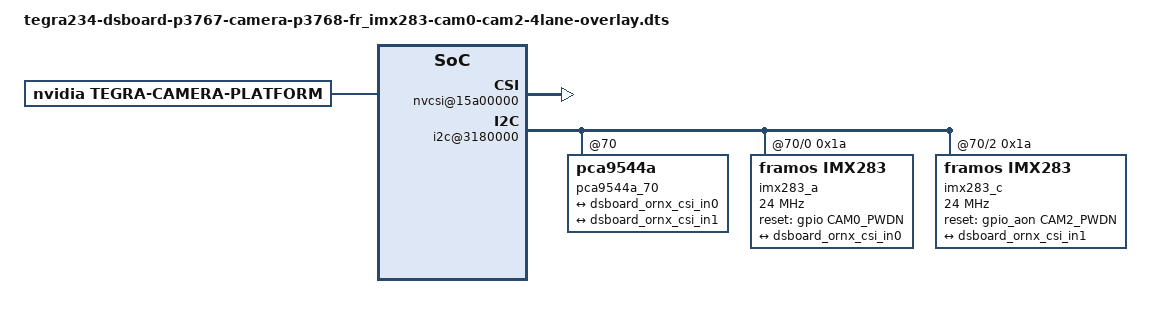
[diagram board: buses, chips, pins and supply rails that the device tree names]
// SPDX-License-Identifier: GPL-2.0-only
// SPDX-FileCopyrightText: Copyright (c) 2023-2024, NVIDIA CORPORATION & AFFILIATES. All rights reserved.

/dts-v1/;
/plugin/;

#include <dt-bindings/tegra234-p3767-0000-common.h>
#include <dt-bindings/clock/tegra234-clock.h>
#include <dt-bindings/gpio/tegra234-gpio.h>

#define CAM0_PWDN	TEGRA234_MAIN_GPIO(H, 6)
#define CAM1_PWDN	TEGRA234_MAIN_GPIO(AC, 0)
#define CAM2_PWDN	TEGRA234_AON_GPIO(CC, 1) // GPIO04
#define CAM3_PWDN	TEGRA234_AON_GPIO(EE, 2) // GPIO10

// CAM0_MCLK - Pin_116 - GPIO(P, 0)
// CAM1_MCLK - Pin_122 - GPIO(P, 1)
// CAM2_MCLK - GPIO02 - GPIO(Q, 5)
// CAM3_MCLK - GPIO11 - GPIO(Q, 6)

/ {
	overlay-name = "Framos DSBOARD-ORNX IMX283 2*4-lane";
	jetson-header-name = "Jetson 24pin CSI Connector";
	compatible = JETSON_COMPATIBLE_P3768;

	fragment-camera@0 {
		target-path = "/";
		__overlay__ {

	tegra-capture-vi  {
		num-channels = <2>;
		ports {
			#address-cells = <1>;
			#size-cells = <0>;
			port@0 {
				status = "okay";
				reg = <0>;
				dsboard_ornx_vi_in0: endpoint {
					status = "okay";
					port-index = <0>;
					bus-width = <4>;
					remote-endpoint = <&dsboard_ornx_csi_out0>;
				};
			};
			port@1 {
				status = "okay";
				reg = <1>;
				dsboard_ornx_vi_in1: endpoint {
					status = "okay";
					port-index = <1>;
					bus-width = <4>;
					remote-endpoint = <&dsboard_ornx_csi_out1>;
				};
			};
		};
	};

	bus@0 {
		host1x@13e00000 {
			nvcsi@15a00000 {
				num-channels = <2>;
				#address-cells = <1>;
				#size-cells = <0>;
				status = "okay";
				channel@0 {
					status = "okay";
					reg = <0>;
					ports {
						#address-cells = <1>;
						#size-cells = <0>;
						port@0 {
							status = "okay";
							reg = <0>;
							dsboard_ornx_csi_in0: endpoint@0 {
								status = "okay";
								port-index = <0>;
								bus-width = <4>;
								remote-endpoint = <&dsboard_ornx_imx283_out0>;
							};
						};
						port@1 {
							status = "okay";
							reg = <1>;
							dsboard_ornx_csi_out0: endpoint@1 {
								status = "okay";
								remote-endpoint = <&dsboard_ornx_vi_in0>;
							};
						};
					};
				};
				channel@1 {
					status = "okay";
					reg = <1>;
					ports {
						#address-cells = <1>;
						#size-cells = <0>;
						port@0 {
							status = "okay";
							reg = <0>;
							dsboard_ornx_csi_in1: endpoint@2 {
								status = "okay";
								port-index = <1>;
								bus-width = <4>;
								remote-endpoint = <&dsboard_ornx_imx283_out1>;
							};
						};
						port@1 {
							status = "okay";
							reg = <1>;
							dsboard_ornx_csi_out1: endpoint@3 {
								status = "okay";
								remote-endpoint = <&dsboard_ornx_vi_in1>;
							};
						};
					};
				};
			};
		};

		i2c@3180000 {
			pca9544a_70: pca9544a@70 {
				status = "okay";

				i2c@0 {
					reg = <0>;
					i2c-mux,deselect-on-exit;
					#address-cells = <1>;
					#size-cells = <0>;

					imx283_a@1a {
						status = "okay";
						compatible = "framos,imx283";
						reg = <0x1a>;
						clocks = <&bpmp TEGRA234_CLK_EXTPERIPH1>, <&bpmp TEGRA234_CLK_EXTPERIPH1>;
						clock-names = "extperiph1", "pllp_grtba";
						mclk = "extperiph1";
						clock-frequency = <24000000>;
						devnode = "video0";
						physical_w = "20.00";
						physical_h = "16.80";
						sensor_model = "imx283";
						post_crop_frame_drop = "0";
						use_decibel_gain = "true";
						delayed_gain = "false";
						use_sensor_mode_id = "false";
						reset-gpios = <&gpio CAM0_PWDN GPIO_ACTIVE_HIGH>;

						mode0 {
							mclk_khz = "24000";
							num_lanes = "4";
							tegra_sinterface = "serial_a";
							vc_id = "0";
							phy_mode = "DPHY";
							discontinuous_clk = "no";
							dpcm_enable = "false";
							cil_settletime = "0";
							lane_polarity = "6";
							active_w = "5496";
							active_h = "3694";
							dynamic_pixel_bit_depth = "10";
							csi_pixel_bit_depth = "10";
							mode_type = "bayer";
							pixel_phase = "rggb";
							readout_orientation = "0";
							line_length = "8900";
							inherent_gain = "1";
							pix_clk_hz = "576000000";
							serdes_pix_clk_hz = "12000000000";
							gain_factor = "10";
							min_gain_val = "0";
							max_gain_val = "270";
							step_gain_val = "1";
							default_gain = "0";
							min_hdr_ratio = "1";
							max_hdr_ratio = "64";
							framerate_factor = "1000000";
							min_framerate = "1500000";
							max_framerate = "25000000";
							step_framerate = "1";
							default_framerate = "25000000";
							exposure_factor = "1000000";
							min_exp_time = "44";
							max_exp_time = "660000";
							step_exp_time = "1";
							default_exp_time = "10000";
							embedded_metadata_height = "1";
						};
						mode1 {
							mclk_khz = "24000";
							num_lanes = "4";
							tegra_sinterface = "serial_a";
							vc_id = "0";
							phy_mode = "DPHY";
							discontinuous_clk = "no";
							dpcm_enable = "false";
							cil_settletime = "0";
							lane_polarity = "6";
							active_w = "5496";
							active_h = "3112";
					
							dynamic_pixel_bit_depth = "10";
							csi_pixel_bit_depth = "10";
							mode_type = "bayer";
							pixel_phase = "rggb";
					
							readout_orientation = "0";
							line_length = "9270";
							inherent_gain = "1";
							pix_clk_hz = "576000000";
							serdes_pix_clk_hz = "12000000000";/* GMSL predefine */
					
							gain_factor = "10";
							min_gain_val = "0"; /* 0dB */
							max_gain_val = "270"; /* 27dB */
							step_gain_val = "1"; /* 0.1 */
							default_gain = "0";
							min_hdr_ratio = "1";
							max_hdr_ratio = "64";
							framerate_factor = "1000000";
							min_framerate = "1500000"; /* 1.5 */
							max_framerate = "30000000"; /* 30 */
							step_framerate = "1";
							default_framerate= "30000000";
							exposure_factor = "1000000";
							min_exp_time = "44";  /* us */
							max_exp_time = "660000"; /* us */
							step_exp_time = "1";
							default_exp_time = "10000";/* us */
							embedded_metadata_height = "1";
						};
						mode2 {
							mclk_khz = "24000";
							num_lanes = "4";
							tegra_sinterface = "serial_a";
							vc_id = "0";
							phy_mode = "DPHY";
							discontinuous_clk = "no";
							dpcm_enable = "false";
							cil_settletime = "0";
							lane_polarity = "6";
							active_w = "3840";
							active_h = "2160";
					
							dynamic_pixel_bit_depth = "10";
							csi_pixel_bit_depth = "10";
							mode_type = "bayer";
							pixel_phase = "rggb";
					
							readout_orientation = "0";
							line_length = "6750";
							inherent_gain = "1";
							pix_clk_hz = "576000000";
							serdes_pix_clk_hz = "12000000000";/* GMSL predefine */
					
							gain_factor = "10";
							min_gain_val = "0"; /* 0dB */
							max_gain_val = "270"; /* 27dB */
							step_gain_val = "1"; /* 0.1 */
							default_gain = "0";
							min_hdr_ratio = "1";
							max_hdr_ratio = "64";
							framerate_factor = "1000000";
							min_framerate = "1500000"; /* 1.5 */
							max_framerate = "43000000"; /* 43 */
							step_framerate = "1";
							default_framerate= "30000000";
							exposure_factor = "1000000";
							min_exp_time = "33";  /* us */
							max_exp_time = "660000"; /* us */
							step_exp_time = "1";
							default_exp_time = "10000";/* us */
							embedded_metadata_height = "1";
						};
						mode3 {
							mclk_khz = "24000";
							num_lanes = "4";
							tegra_sinterface = "serial_a";
							vc_id = "0";
							phy_mode = "DPHY";
							discontinuous_clk = "no";
							dpcm_enable = "false";
							cil_settletime = "0";
							lane_polarity = "6";
							active_w = "1920";
							active_h = "1080";
					
							dynamic_pixel_bit_depth = "12";
							csi_pixel_bit_depth = "12";
							mode_type = "bayer";
							pixel_phase = "rggb";
					
							readout_orientation = "0";
							line_length = "4500";
							inherent_gain = "1";
							pix_clk_hz = "480000000";
							serdes_pix_clk_hz = "12000000000";/* GMSL predefine */
					
							gain_factor = "10";
							min_gain_val = "0"; /* 0dB */
							max_gain_val = "270"; /* 27dB */
							step_gain_val = "1"; /* 0.1 */
							default_gain = "0";
							min_hdr_ratio = "1";
							max_hdr_ratio = "64";
							framerate_factor = "1000000";
							min_framerate = "1500000"; /* 1.5 */
							max_framerate = "50000000"; /* 60 */
							step_framerate = "1";
							default_framerate= "40000000";
							exposure_factor = "1000000";
							min_exp_time = "22";  /* us */
							max_exp_time = "660000"; /* us */
							step_exp_time = "1";
							default_exp_time = "10000";/* us */
							embedded_metadata_height = "1";
						};
						mode4 {
							mclk_khz = "24000";
							num_lanes = "4";
							tegra_sinterface = "serial_a";
							vc_id = "0";
							phy_mode = "DPHY";
							discontinuous_clk = "no";
							dpcm_enable = "false";
							cil_settletime = "0";
							lane_polarity = "6";
							active_w = "5496";
							active_h = "3694";
					
							dynamic_pixel_bit_depth = "12";
							csi_pixel_bit_depth = "12";
							mode_type = "bayer";
							pixel_phase = "rggb";
					
							readout_orientation = "0";
							line_length = "11250";
							inherent_gain = "1";
							pix_clk_hz = "480000000";
							serdes_pix_clk_hz = "12000000000";/* GMSL predefine */
					
							gain_factor = "10";
							min_gain_val = "0"; /* 0dB */
							max_gain_val = "270"; /* 27dB */
							step_gain_val = "1"; /* 0.1 */
							default_gain = "0";
							min_hdr_ratio = "1";
							max_hdr_ratio = "64";
							framerate_factor = "1000000";
							min_framerate = "1500000"; /* 1.5 */
							max_framerate = "21000000"; /* 21 */
							step_framerate = "1";
							default_framerate= "21000000";
							exposure_factor = "1000000";
							min_exp_time = "53";  /* us */
							max_exp_time = "660000"; /* us */
							step_exp_time = "1";
							default_exp_time = "10000";/* us */
							embedded_metadata_height = "1";
						};

						ports {
							#address-cells = <1>;
							#size-cells = <0>;

							port@0 {
								status = "okay";
								reg = <0>;
								dsboard_ornx_imx283_out0: endpoint {
									status = "okay";
									port-index = <0>;
									bus-width = <4>;
									remote-endpoint = <&dsboard_ornx_csi_in0>;
								};
							};
						};
					};
				};

				i2c@1 {
					reg = <1>;
					i2c-mux,deselect-on-exit;
					#address-cells = <1>;
					#size-cells = <0>;
				};

				i2c@2 {
					reg = <2>;
					i2c-mux,deselect-on-exit;
					#address-cells = <1>;
					#size-cells = <0>;

					imx283_c@1a {
						status = "okay";
						compatible = "framos,imx283";
						reg = <0x1a>;
						clocks = <&bpmp TEGRA234_CLK_EXTPERIPH1>, <&bpmp TEGRA234_CLK_EXTPERIPH1>;
						clock-names = "extperiph1", "pllp_grtba";
						mclk = "extperiph1";
						clock-frequency = <24000000>;
						devnode = "video1";
						physical_w = "20.00";
						physical_h = "16.80";
						sensor_model = "imx283";
						post_crop_frame_drop = "0";
						use_decibel_gain = "true";
						delayed_gain = "false";
						use_sensor_mode_id = "false";
						reset-gpios = <&gpio_aon CAM2_PWDN GPIO_ACTIVE_HIGH>;

						mode0 {
							mclk_khz = "24000";
							num_lanes = "4";
							tegra_sinterface = "serial_c";
							vc_id = "0";
							phy_mode = "DPHY";
							discontinuous_clk = "no";
							dpcm_enable = "false";
							cil_settletime = "0";
							lane_polarity = "0";
							active_w = "5496";
							active_h = "3694";
							dynamic_pixel_bit_depth = "10";
							csi_pixel_bit_depth = "10";
							mode_type = "bayer";
							pixel_phase = "rggb";
							readout_orientation = "0";
							line_length = "8900";
							inherent_gain = "1";
							pix_clk_hz = "576000000";
							serdes_pix_clk_hz = "12000000000";
							gain_factor = "10";
							min_gain_val = "0";
							max_gain_val = "270";
							step_gain_val = "1";
							default_gain = "0";
							min_hdr_ratio = "1";
							max_hdr_ratio = "64";
							framerate_factor = "1000000";
							min_framerate = "1500000";
							max_framerate = "25000000";
							step_framerate = "1";
							default_framerate = "25000000";
							exposure_factor = "1000000";
							min_exp_time = "44";
							max_exp_time = "660000";
							step_exp_time = "1";
							default_exp_time = "10000";
							embedded_metadata_height = "1";
						};
						mode1 {
							mclk_khz = "24000";
							num_lanes = "4";
							tegra_sinterface = "serial_c";
							vc_id = "0";
							phy_mode = "DPHY";
							discontinuous_clk = "no";
							dpcm_enable = "false";
							cil_settletime = "0";
							lane_polarity = "0";
							active_w = "5496";
							active_h = "3112";
					
							dynamic_pixel_bit_depth = "10";
							csi_pixel_bit_depth = "10";
							mode_type = "bayer";
							pixel_phase = "rggb";
					
							readout_orientation = "0";
							line_length = "9270";
							inherent_gain = "1";
							pix_clk_hz = "576000000";
							serdes_pix_clk_hz = "12000000000";/* GMSL predefine */
					
							gain_factor = "10";
							min_gain_val = "0"; /* 0dB */
							max_gain_val = "270"; /* 27dB */
							step_gain_val = "1"; /* 0.1 */
							default_gain = "0";
							min_hdr_ratio = "1";
							max_hdr_ratio = "64";
							framerate_factor = "1000000";
							min_framerate = "1500000"; /* 1.5 */
							max_framerate = "30000000"; /* 30 */
							step_framerate = "1";
							default_framerate= "30000000";
							exposure_factor = "1000000";
							min_exp_time = "44";  /* us */
							max_exp_time = "660000"; /* us */
							step_exp_time = "1";
							default_exp_time = "10000";/* us */
							embedded_metadata_height = "1";
						};
						mode2 {
							mclk_khz = "24000";
							num_lanes = "4";
							tegra_sinterface = "serial_c";
							vc_id = "0";
							phy_mode = "DPHY";
							discontinuous_clk = "no";
							dpcm_enable = "false";
							cil_settletime = "0";
							lane_polarity = "0";
							active_w = "3840";
							active_h = "2160";
					
							dynamic_pixel_bit_depth = "10";
							csi_pixel_bit_depth = "10";
							mode_type = "bayer";
							pixel_phase = "rggb";
					
							readout_orientation = "0";
							line_length = "6750";
							inherent_gain = "1";
							pix_clk_hz = "576000000";
							serdes_pix_clk_hz = "12000000000";/* GMSL predefine */
					
							gain_factor = "10";
							min_gain_val = "0"; /* 0dB */
							max_gain_val = "270"; /* 27dB */
							step_gain_val = "1"; /* 0.1 */
							default_gain = "0";
							min_hdr_ratio = "1";
							max_hdr_ratio = "64";
							framerate_factor = "1000000";
							min_framerate = "1500000"; /* 1.5 */
							max_framerate = "43000000"; /* 43 */
							step_framerate = "1";
							default_framerate= "30000000";
							exposure_factor = "1000000";
							min_exp_time = "33";  /* us */
							max_exp_time = "660000"; /* us */
							step_exp_time = "1";
							default_exp_time = "10000";/* us */
							embedded_metadata_height = "1";
						};
						mode3 {
							mclk_khz = "24000";
							num_lanes = "4";
							tegra_sinterface = "serial_c";
							vc_id = "0";
							phy_mode = "DPHY";
							discontinuous_clk = "no";
							dpcm_enable = "false";
							cil_settletime = "0";
							lane_polarity = "0";
							active_w = "1920";
							active_h = "1080";
					
							dynamic_pixel_bit_depth = "12";
							csi_pixel_bit_depth = "12";
							mode_type = "bayer";
							pixel_phase = "rggb";
					
							readout_orientation = "0";
							line_length = "4500";
							inherent_gain = "1";
							pix_clk_hz = "480000000";
							serdes_pix_clk_hz = "12000000000";/* GMSL predefine */
					
							gain_factor = "10";
							min_gain_val = "0"; /* 0dB */
							max_gain_val = "270"; /* 27dB */
							step_gain_val = "1"; /* 0.1 */
							default_gain = "0";
							min_hdr_ratio = "1";
							max_hdr_ratio = "64";
							framerate_factor = "1000000";
							min_framerate = "1500000"; /* 1.5 */
							max_framerate = "50000000"; /* 60 */
							step_framerate = "1";
							default_framerate= "40000000";
							exposure_factor = "1000000";
							min_exp_time = "22";  /* us */
							max_exp_time = "660000"; /* us */
							step_exp_time = "1";
							default_exp_time = "10000";/* us */
							embedded_metadata_height = "1";
						};
						mode4 {
							mclk_khz = "24000";
							num_lanes = "4";
							tegra_sinterface = "serial_c";
							vc_id = "0";
							phy_mode = "DPHY";
							discontinuous_clk = "no";
							dpcm_enable = "false";
							cil_settletime = "0";
							lane_polarity = "0";
							active_w = "5496";
							active_h = "3694";
					
							dynamic_pixel_bit_depth = "12";
							csi_pixel_bit_depth = "12";
							mode_type = "bayer";
							pixel_phase = "rggb";
					
							readout_orientation = "0";
							line_length = "11250";
							inherent_gain = "1";
							pix_clk_hz = "480000000";
							serdes_pix_clk_hz = "12000000000";/* GMSL predefine */
					
							gain_factor = "10";
							min_gain_val = "0"; /* 0dB */
							max_gain_val = "270"; /* 27dB */
							step_gain_val = "1"; /* 0.1 */
							default_gain = "0";
							min_hdr_ratio = "1";
							max_hdr_ratio = "64";
							framerate_factor = "1000000";
							min_framerate = "1500000"; /* 1.5 */
							max_framerate = "21000000"; /* 21 */
							step_framerate = "1";
							default_framerate= "21000000";
							exposure_factor = "1000000";
							min_exp_time = "53";  /* us */
							max_exp_time = "660000"; /* us */
							step_exp_time = "1";
							default_exp_time = "10000";/* us */
							embedded_metadata_height = "1";
						};

						ports {
							#address-cells = <1>;
							#size-cells = <0>;

							port@0 {
								reg = <0>;
								dsboard_ornx_imx283_out1: endpoint {
									port-index = <2>;
									bus-width = <4>;
									remote-endpoint = <&dsboard_ornx_csi_in1>;
								};
							};
						};
					};
				};

				i2c@3 {
					reg = <3>;
					i2c-mux,deselect-on-exit;
					#address-cells = <1>;
					#size-cells = <0>;
				};
			};
		};
	};

	tegra-camera-platform {
		compatible = "nvidia, tegra-camera-platform";
		/**
		* Physical settings to calculate max ISO BW
		*
		* num_csi_lanes = <>;
		* Total number of CSI lanes when all cameras are active
		*
		* max_lane_speed = <>;
		* Max lane speed in Kbit/s
		*
		* min_bits_per_pixel = <>;
		* Min bits per pixel
		*
		* vi_peak_byte_per_pixel = <>;
		* Max byte per pixel for the VI ISO case
		*
		* vi_bw_margin_pct = <>;
		* Vi bandwidth margin in percentage
		*
		* max_pixel_rate = <>;
		* Max pixel rate in Kpixel/s for the ISP ISO case
		*
		* isp_peak_byte_per_pixel = <>;
		* Max byte per pixel for the ISP ISO case
		*
		* isp_bw_margin_pct = <>;
		* Isp bandwidth margin in percentage
		*/
		num_csi_lanes = <8>;
		max_lane_speed = <1500000>;
		min_bits_per_pixel = <10>;
		vi_peak_byte_per_pixel = <2>;
		vi_bw_margin_pct = <25>;
		max_pixel_rate = <240000>;
		isp_peak_byte_per_pixel = <5>;
		isp_bw_margin_pct = <25>;

		/**
		 * The general guideline for naming badge_info contains 3 parts, and is as follows,
		 * The first part is the camera_board_id for the module; if the module is in a FFD
		 * platform, then use the platform name for this part.
		 * The second part contains the position of the module, ex. "rear" or "front".
		 * The third part contains the last 6 characters of a part number which is found
		 * in the module's specsheet from the vendor.
		 */
		modules {
			module0 {
				status = "okay";
				badge = "dsboard_ornx_left";
				position = "left";
				orientation = "1";
				drivernode0 {
					status = "okay";
					pcl_id = "v4l2_sensor";
					sysfs-device-tree = "/sys/firmware/devicetree/base/bus@0/i2c@3180000/pca9544a@70/i2c@0/imx283_a@1a";
				};
			};
			module1 {
				status = "okay";
				badge = "dsboard_ornx_right";
				position = "right";
				orientation = "1";
				drivernode0 {
					status = "okay";
					pcl_id = "v4l2_sensor";
					sysfs-device-tree = "/sys/firmware/devicetree/base/bus@0/i2c@3180000/pca9544a@70/i2c@2/imx283_c@1a";
				};
			};
		};
	};

		}; //__overlay__ ends
	}; //fragment-camera@0 ends
};
